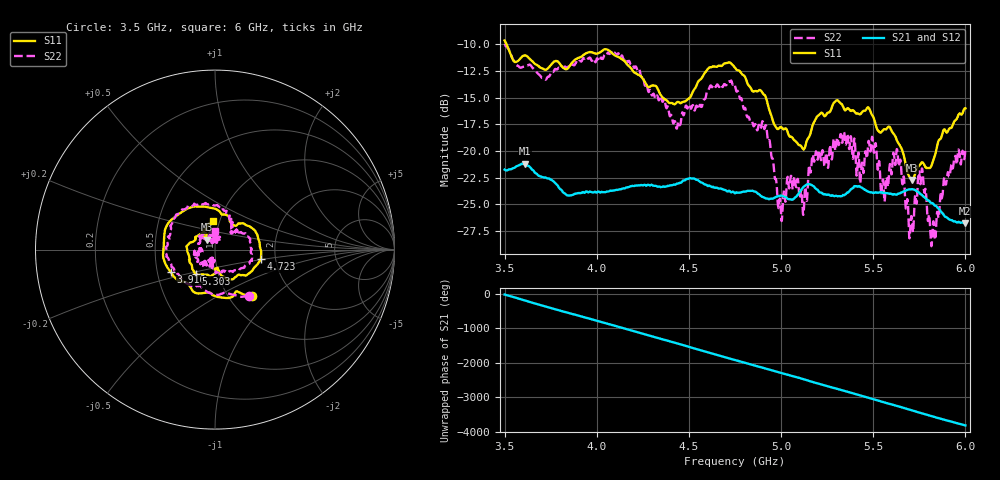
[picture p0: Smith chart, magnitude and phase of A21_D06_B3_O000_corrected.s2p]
! Created with skrf 1.9.0 (http://scikit-rf.org).
# Hz S RI R 50.0
!freq ReS11 ImS11 ReS21 ImS21 ReS12 ImS12 ReS22 ImS22
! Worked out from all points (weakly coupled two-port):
!   1601 points, 3.5 GHz to 6 GHz, reference 50 ohm
!   highest |S21| = -21.19 dB at 3.609 GHz (marker M1); lowest = -26.8 dB at 5.995 GHz (marker M2)
!   lowest |S11| = -22.7 dB at 5.711 GHz (marker M3), VSWR 1.16, Z = 45.2 + j5.1 ohm
!   |S11| at or under -10 dB: 3.511 GHz to end of sweep
!   |S22| runs from -28.9 to -9.9 dB; largest |S21 - S12| = 0.00094
!   S11 on the Smith chart (normalised r, x): 3.5 GHz: 1.27, -0.74; 3.916 GHz: 0.59, -0.16; 4.723 GHz: 1.67, -0.19; 5.303 GHz: 0.78, -0.22; 6 GHz: 0.93, +0.30
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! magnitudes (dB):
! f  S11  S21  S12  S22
! 3.5 GHz  -9.6  -21.7  -21.7  -9.9
! 3.609 GHz  -11.0  -21.2  -21.2  -12.0
! 3.916 GHz  -11.1  -23.9  -23.9  -11.6
! 3.917 GHz  -11.1  -23.9  -23.9  -11.6
! 4.127 GHz  -11.3  -23.6  -23.5  -11.2
! 4.334 GHz  -14.3  -23.3  -23.3  -15.2
! 4.442 GHz  -15.4  -23.0  -23.0  -17.2
! 4.723 GHz  -11.7  -23.8  -23.7  -13.4
! 4.75 GHz  -12.2  -24.0  -23.9  -13.9
! 4.911 GHz  -14.7  -24.4  -24.3  -17.9
! 4.995 GHz  -17.8  -24.2  -24.1  -24.6
! 5.045 GHz  -18.6  -24.5  -24.5  -23.5
! 5.128 GHz  -19.7  -23.3  -23.3  -23.9
! 5.167 GHz  -17.8  -23.2  -23.2  -20.8
! 5.303 GHz  -15.2  -24.2  -24.2  -18.8
! 5.584 GHz  -17.7  -24.0  -23.9  -22.5
! 5.638 GHz  -19.3  -24.0  -23.9  -21.3
! 5.711 GHz  -22.7  -23.6  -23.5  -26.5
! 5.758 GHz  -21.2  -24.1  -24.0  -22.9
! 5.827 GHz  -20.8  -25.0  -24.9  -26.6
! 5.995 GHz  -16.0  -26.8  -26.7  -20.6
! 6 GHz  -16.0  -26.8  -26.7  -19.8
